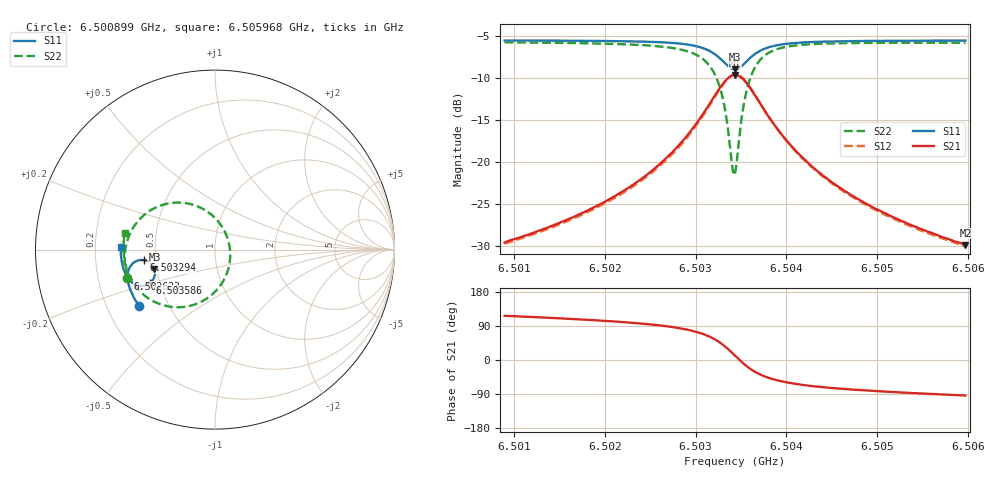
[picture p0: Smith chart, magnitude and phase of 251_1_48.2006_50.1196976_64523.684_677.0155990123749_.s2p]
#  HZ  S  RI  R  50.00
! Rohde & Schwarz Vector Network Analyzer
! Rohde-Schwarz,ZNB20-2Port,1311601062101988,3.16
! Created: UTC 3/20/2024, 11:47:15 AM
! freq[Hz]  re:S11  im:S11  re:S21  im:S21  re:S12  im:S12  re:S22  im:S22
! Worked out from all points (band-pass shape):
!   401 points, 6.500899 GHz to 6.505968 GHz, reference 50 ohm
!   highest |S21| = -9.67 dB at 6.503434 GHz (marker M1); lowest = -29.9 dB at 6.505968 GHz (marker M2)
!   |S21| within 3 dB of the highest: 6.503179 GHz to 6.503687 GHz (508 kHz wide, 0.00781 % of centre)
!   lowest |S11| = -9.0 dB at 6.503434 GHz (marker M3), VSWR 2.10, Z = 24.3 - j6 ohm
!   |S11| at or under -10 dB: nowhere
!   |S22| runs from -21.6 to -5.8 dB; largest |S21 - S12| = 0.011
!   S11 on the Smith chart (normalised r, x): 6.500899 GHz: 0.34, -0.29; 6.502623 GHz: 0.33, -0.15; 6.503294 GHz: 0.43, -0.06; 6.503586 GHz: 0.44, -0.20; 6.505968 GHz: 0.31, +0.01
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6.5008991e9  -0.4237 -0.3125  -0.0148 0.0296  -0.0132 0.0298  -0.4885 -0.1587
6.5017482e9  -0.4607 -0.2501  -0.0144 0.0475  -0.0119 0.047  -0.5025 -0.0691
6.5021918e9  -0.4765 -0.2113  -0.0118 0.0654  -0.00871 0.0642  -0.5003 -0.00715
6.5025973e9  -0.4865 -0.1671  -0.00244 0.096  0.00111 0.0937  -0.4806 0.0722
6.5026227e9  -0.4868 -0.1639  -0.00127 0.0987  0.00235 0.0963  -0.4781 0.0784
6.5028634e9  -0.4854 -0.1282  0.0182 0.1329  0.0221 0.129  -0.4368 0.1493
6.5030282e9  -0.4739 -0.0971  0.0518 0.1669  0.0549 0.1616  -0.3709 0.2111
6.503193e9  -0.4386 -0.0642  0.13 0.2003  0.1313 0.1938  -0.2269 0.2612
6.5032943e9  -0.3956 -0.0577  0.2161 0.1906  0.2163 0.1853  -0.0777 0.2322
6.503345e9  -0.37 -0.0667  0.2644 0.162  0.2652 0.1575  0.00275 0.1736
6.5034084e9  -0.3435 -0.0934  0.3117 0.0982  0.3143 0.0932  0.0739 0.0504
6.5034338e9  -0.3373 -0.1079  0.3216 0.066  0.3249 0.0602  0.0844 -0.00964
6.5034591e9  -0.3345 -0.1237  0.3251 0.0322  0.3286 0.0254  0.0821 -0.0709
6.5035225e9  -0.3417 -0.1606  0.3068 -0.0452  0.3086 -0.0552  0.0259 -0.2055
6.5035858e9  -0.3628 -0.1863  0.2638 -0.0989  0.2626 -0.1102  -0.0709 -0.2876
6.5036872e9  -0.4023 -0.2014  0.1893 -0.1348  0.184 -0.1443  -0.2205 -0.3211
6.503852e9  -0.4482 -0.1917  0.1081 -0.1315  0.101 -0.1365  -0.3668 -0.2743
6.5040294e9  -0.4755 -0.1703  0.0637 -0.1116  0.0575 -0.1138  -0.4385 -0.2093
6.5042829e9  -0.4962 -0.1405  0.0337 -0.0872  0.0291 -0.0879  -0.4818 -0.1375
6.5046631e9  -0.5117 -0.1009  0.0149 -0.0643  0.0116 -0.0639  -0.5041 -0.0627
6.505132e9  -0.5211 -0.0578  0.005 -0.0477  0.0027 -0.0471  -0.5102 0.0031
6.5059684e9  -0.5258 0.013  -0.00206 -0.032  -0.00345 -0.0313  -0.5022 0.0911
